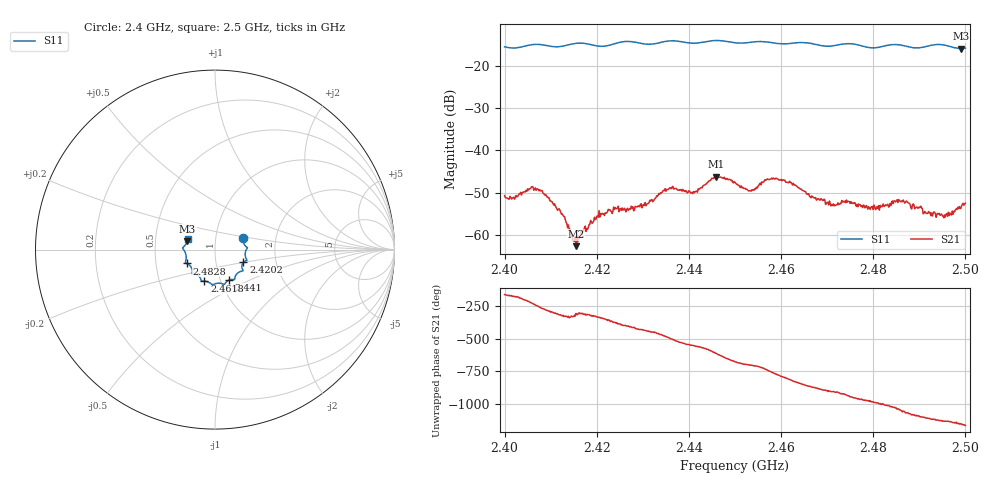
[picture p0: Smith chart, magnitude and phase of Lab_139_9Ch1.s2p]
# Hz S RI R 50
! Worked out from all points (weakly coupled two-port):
!   601 points, 2.4 GHz to 2.5 GHz, reference 50 ohm
!   highest |S21| = -46.18 dB at 2.4458 GHz (marker M1); lowest = -62.7 dB at 2.4155 GHz (marker M2)
!   lowest |S11| = -15.8 dB at 2.499 GHz (marker M3), VSWR 1.38, Z = 36.5 + j3.47 ohm
!   |S11| at or under -10 dB: start of sweep to end of sweep
!   S12 and S22 are empty: the file has one direction only
!   S11 on the Smith chart (normalised r, x): 2.4 GHz: 1.36, +0.18; 2.4202 GHz: 1.36, -0.20; 2.441 GHz: 1.10, -0.39; 2.4618 GHz: 0.84, -0.31; 2.4828 GHz: 0.72, -0.11; 2.5 GHz: 0.73, +0.09
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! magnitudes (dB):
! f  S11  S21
! 2.4 GHz  -15.4  -50.7
! 2.4077 GHz  -14.9  -49.4
! 2.4123 GHz  -15.3  -55.1
! 2.4155 GHz  -14.6  -62.7
! 2.4167 GHz  -14.5  -59.2
! 2.4202 GHz  -15.2  -55.6
! 2.4333 GHz  -14.5  -50.6
! 2.436 GHz  -14.0  -48.9
! 2.441 GHz  -14.6  -49.7
! 2.4458 GHz  -13.9  -46.2
! 2.45 GHz  -14.5  -47.6
! 2.4533 GHz  -14.3  -49.5
! 2.4575 GHz  -14.3  -46.9
! 2.4618 GHz  -14.6  -47.3
! 2.4667 GHz  -14.6  -50.8
! 2.4713 GHz  -15.2  -52.7
! 2.4828 GHz  -15.1  -53.0
! 2.4833 GHz  -15.0  -53.4
! 2.486 GHz  -15.0  -52.2
! 2.4952 GHz  -15.0  -55.5
! 2.499 GHz  -15.8  -53.8
! 2.5 GHz  -15.7  -52.5
